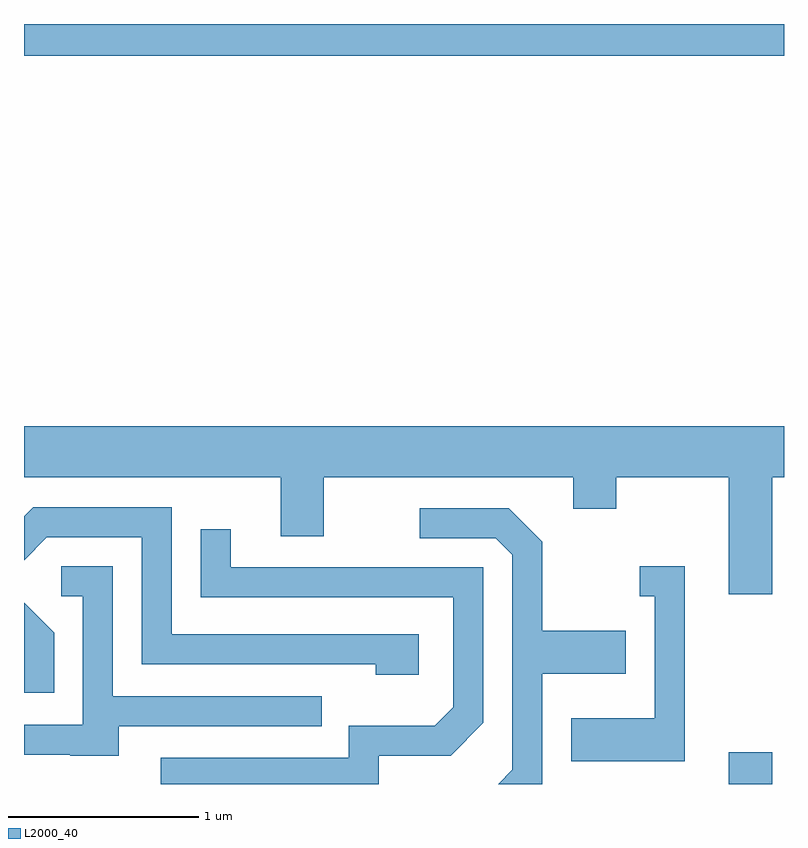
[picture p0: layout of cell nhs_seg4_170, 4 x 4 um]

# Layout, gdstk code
import gdstk
lib = gdstk.Library(unit=1e-6, precision=1e-09)
def R(c, l, rs):  # rectangles x0, y0, x1, y1
    for r in rs: c.add(gdstk.rectangle(r[:2], r[2:], *l))
def P(c, l, *ps):  # polygons
    for p in ps: c.add(gdstk.Polygon(p, *l))
L2000_40 = (2000, 40)

nhs_seg4_170 = lib.new_cell('nhs_seg4_170')
R(nhs_seg4_170, L2000_40, [(193.321,1321.982,193.549,1322.149), (189.611,1325.816,193.611,1325.982)])
P(nhs_seg4_170, L2000_40, [(193.549,1323.596),(193.611,1323.596),(193.611,1323.864),(189.611,1323.864),(189.611,1323.596),(190.961,1323.596),(190.961,1323.286),(191.189,1323.286),(191.189,1323.596),(192.501,1323.596),(192.501,1323.431),(192.729,1323.431),(192.729,1323.596),(193.321,1323.596),(193.321,1322.981),(193.549,1322.981)],
  [(191.689,1322.769),(190.389,1322.769),(190.389,1323.439),(189.659,1323.439),(189.611,1323.391),(189.611,1323.16),(189.732,1323.281),(190.231,1323.281),(190.231,1322.611),(191.461,1322.611),(191.461,1322.556),(191.689,1322.556)],
  [(192.339,1322.561),(192.779,1322.561),(192.779,1322.789),(192.339,1322.789),(192.339,1323.257),(192.162,1323.434),(191.693,1323.434),(191.693,1323.276),(192.094,1323.276),(192.181,1323.189),(192.181,1322.057),(192.107,1321.982),(192.339,1321.982)],
  [(191.479,1322.131),(191.857,1322.131),(192.029,1322.304),(192.029,1323.124),(190.699,1323.124),(190.699,1323.323),(190.541,1323.323),(190.541,1322.966),(191.871,1322.966),(191.871,1322.387),(191.774,1322.289),(191.321,1322.289),(191.321,1322.119),(190.331,1322.119),(190.331,1321.982),(191.479,1321.982)],
  [(193.089,1323.129),(192.853,1323.129),(192.853,1322.971),(192.931,1322.971),(192.931,1322.329),(192.491,1322.329),(192.491,1322.101),(193.089,1322.101)],
  [(190.109,1322.286),(191.178,1322.286),(191.178,1322.444),(190.079,1322.444),(190.079,1323.129),(189.808,1323.129),(189.808,1322.971),(189.921,1322.971),(189.921,1322.294),(189.611,1322.294),(189.611,1322.136),(189.855,1322.136),(189.855,1322.131),(190.109,1322.131)],
  [(189.769,1322.777),(189.611,1322.935),(189.611,1322.463),(189.769,1322.463)])

lib.write_gds('nhs_seg4_170.gds')
